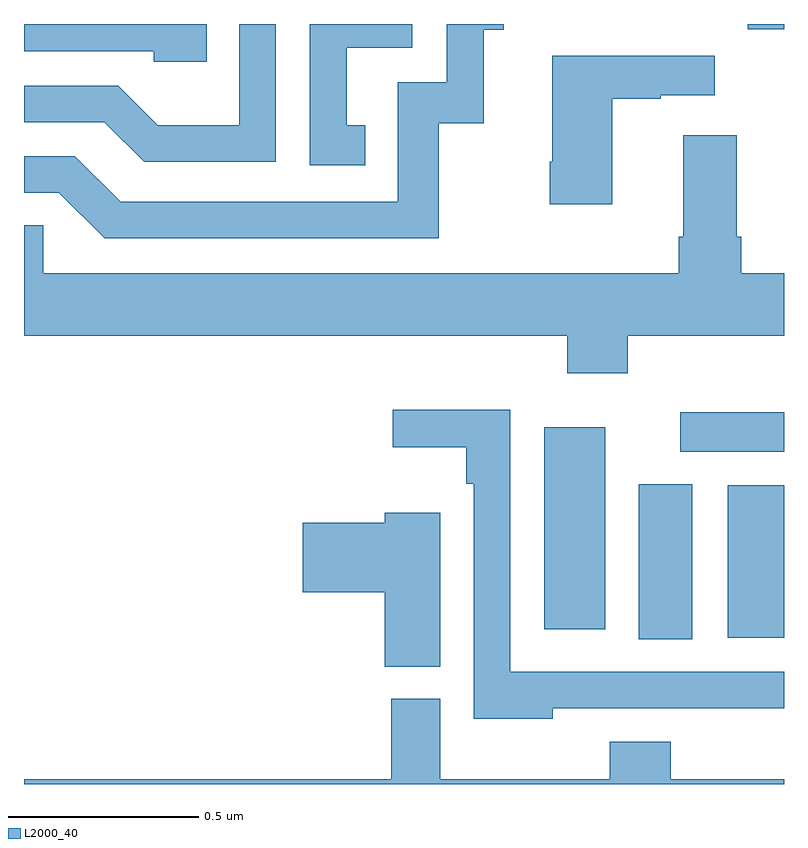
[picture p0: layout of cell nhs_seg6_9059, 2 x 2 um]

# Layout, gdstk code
import gdstk
lib = gdstk.Library(unit=1e-6, precision=1e-09)
def R(c, l, rs):  # rectangles x0, y0, x1, y1
    for r in rs: c.add(gdstk.rectangle(r[:2], r[2:], *l))
def P(c, l, *ps):  # polygons
    for p in ps: c.add(gdstk.Polygon(p, *l))
L2000_40 = (2000, 40)

nhs_seg6_9059 = lib.new_cell('nhs_seg6_9059')
R(nhs_seg6_9059, L2000_40, [(230.618,935.881,230.758,936.289), (230.852,935.885,231,936.286), (230.369,935.907,230.53,936.439), (230.727,936.374,231,936.478), (230.905,937.486,231,937.5)])
P(nhs_seg6_9059, L2000_40, [(229.898,937.233),(229.849,937.233),(229.849,937.437),(230.022,937.437),(230.022,937.5),(229.752,937.5),(229.752,937.128),(229.898,937.128)],
  [(230.092,937.239),(230.21,937.239),(230.21,937.485),(230.263,937.485),(230.263,937.5),(230.112,937.5),(230.112,937.347),(229.983,937.347),(229.983,937.032),(229.254,937.032),(229.134,937.152),(229,937.152),(229,937.056),(229.092,937.056),(229.212,936.936),(230.092,936.936)],
  [(229.662,937.5),(229.566,937.5),(229.566,937.234),(229.352,937.234),(229.248,937.338),(229,937.338),(229,937.242),(229.211,937.242),(229.316,937.137),(229.662,937.137)],
  [(229.481,937.5),(229,937.5),(229,937.428),(229.341,937.428),(229.341,937.401),(229.481,937.401)],
  [(230.548,937.303),(230.675,937.303),(230.675,937.313),(230.818,937.313),(230.818,937.417),(230.39,937.417),(230.39,937.138),(230.383,937.138),(230.383,937.026),(230.548,937.026)],
  [(230.589,936.68),(231,936.68),(231,936.844),(230.888,936.844),(230.888,936.94),(230.875,936.94),(230.875,937.207),(230.735,937.207),(230.735,936.94),(230.723,936.94),(230.723,936.844),(229.05,936.844),(229.05,936.971),(229,936.971),(229,936.68),(230.429,936.68),(230.429,936.581),(230.589,936.581)],
  [(230.391,935.7),(230.785,935.7),(230.785,935.699),(231,935.699),(231,935.796),(230.28,935.796),(230.28,936.485),(229.971,936.485),(229.971,936.386),(230.164,936.386),(230.164,936.29),(230.184,936.29),(230.184,935.672),(230.391,935.672)],
  [(230.095,936.214),(229.949,936.214),(229.949,936.188),(229.734,936.188),(229.734,936.005),(229.949,936.005),(229.949,935.809),(230.095,935.809)],
  [(231,935.512),(230.702,935.512),(230.702,935.611),(230.542,935.611),(230.542,935.512),(230.095,935.512),(230.095,935.724),(229.967,935.724),(229.967,935.512),(229,935.512),(229,935.5),(231,935.5)])

lib.write_gds('nhs_seg6_9059.gds')
